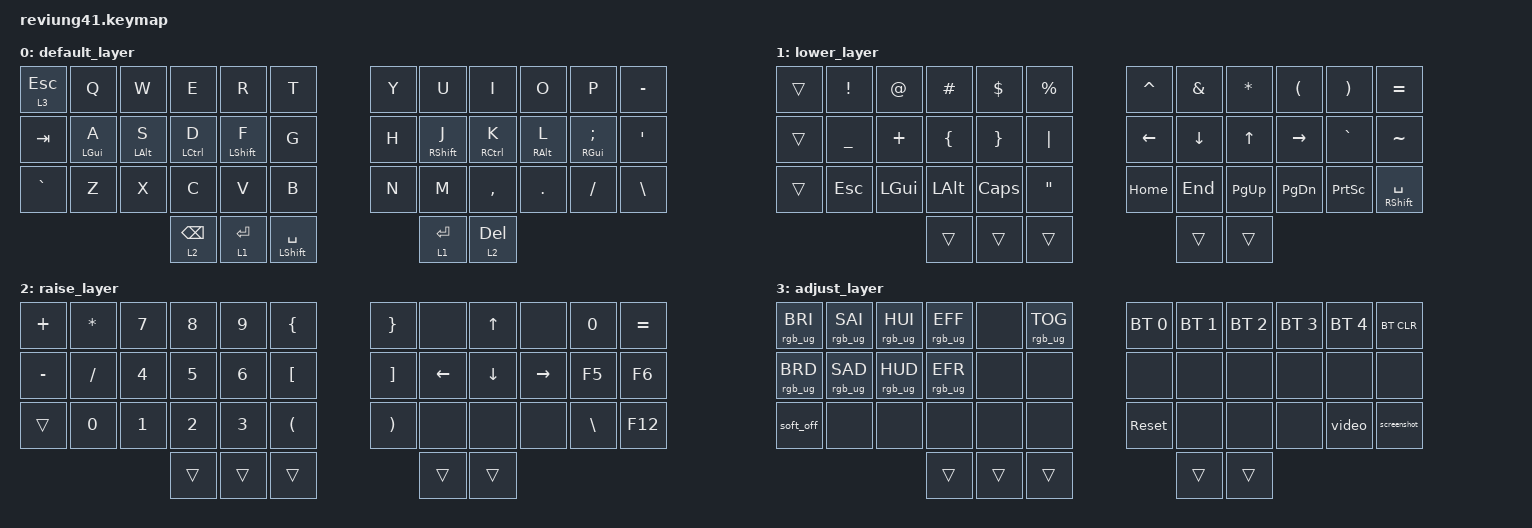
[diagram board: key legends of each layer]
/*
 * Copyright (c) 2020 The ZMK Contributors
 *
 * SPDX-License-Identifier: MIT
 */

#include <behaviors.dtsi>
#include <dt-bindings/zmk/bt.h>
#include <dt-bindings/zmk/keys.h>
#include <dt-bindings/zmk/rgb.h>

&lt { quick-tap-ms = <200>; };

/ {
    behaviors {
        hm: homerow_mods {
            compatible = "zmk,behavior-hold-tap";
            label = "homerow_mods";
            bindings = <&kp>, <&kp>;

            #binding-cells = <2>;
            tapping-term-ms = <200>;
            quick-tap-ms = <200>;
            flavor = "balanced";
        };
    };

    combos {
        compatible = "zmk,combos";

        escape {
            bindings = <&kp ESCAPE>;
            key-positions = <1 2>;
        };

        semi {
            bindings = <&kp SEMICOLON>;
            key-positions = <33 32>;
        };

        hyper {
            bindings = <&kp RC(RS(RA(RGUI)))>;
            key-positions = <39 40 41>;
        };
    };

    macros {
        screenshot: screenshot {
            compatible = "zmk,behavior-macro";
            #binding-cells = <0>;
            bindings =
                <&macro_press>,
                <&kp LGUI &kp LCTRL &kp LSHFT>,
                <&macro_tap>,
                <&kp NUMBER_4>,
                <&macro_release>,
                <&kp LGUI &kp LCTRL &kp LSHFT>;

            label = "SCREENSHOT";
        };

        video: video {
            compatible = "zmk,behavior-macro";
            #binding-cells = <0>;
            bindings =
                <&macro_press>,
                <&kp LGUI &kp LSHFT>,
                <&macro_tap>,
                <&kp N5>,
                <&macro_release>,
                <&kp LGUI &kp LSHFT>;

            label = "VIDEO";
        };
    };

    keymap {
        compatible = "zmk,keymap";

        default_layer {
            // -------------------------------------------------------------------------------------
            // |  TAB |  Q  |  W  |  E  |  R  |  T  |   |  Y  |  U   |  I  |  O  |  P  |   BSPC    |
            // | CTRL |  A  |  S  |  D  |  F  |  G  |   |  H  |  J   |  K  |  L  |  ;  |    '      |
            // | SHFT |  Z  |  X  |  C  |  V  |  B  |   |  N  |  M   |  ,  |  .  |  /  | SHFT(RET) |
            //                         | ALT | LWR | SPC | RSE  | ALT |

            bindings = <
&lt 3 ESCAPE  &kp Q       &kp W           &kp E            &kp R         &kp T                        &kp Y  &kp U         &kp I         &kp O            &kp P          &kp MINUS
&kp TAB       &hm LGUI A  &hm LEFT_ALT S  &hm LCTRL D      &hm LSHIFT F  &kp G                        &kp H  &hm RSHIFT J  &hm RCTRL K   &hm RIGHT_ALT L  &hm RGUI SEMI  &kp SQT
&kp GRAVE     &kp Z       &kp X           &kp C            &kp V         &kp B                        &kp N  &kp M         &kp COMMA     &kp DOT          &kp FSLH       &kp BACKSLASH
                                          &lt 2 BACKSPACE  &lt 1 ENTER          &hm LEFT_SHIFT SPACE         &lt 1 ENTER   &lt 2 DELETE
            >;
        };

        lower_layer {
            // ------------------------------------------------------------------------------------
            // |    |  !  |  @  |  #  |  $  |  %  |   |  ^  |  &  |  *  |  (  |  )  |      DEL    |
            // |    |  _  |  +  |  {  |  }  | "|" |   | LFT | DWN |  UP | RGT |  `  |       ~     |
            // |    | ESC | GUI | ALT | CAPS|  "  |   | HOME| END | PGUP| PGDN| PRSC| SHFT(SPACE) |
            //                       |     |     | RET | ADJ |     |

            bindings = <
&trans  &kp EXCL   &kp AT    &kp HASH  &kp DLLR  &kp PRCNT          &kp CARET  &kp AMPS  &kp ASTRK  &kp LPAR   &kp RPAR   &kp EQUAL
&trans  &kp UNDER  &kp PLUS  &kp LBRC  &kp RBRC  &kp PIPE           &kp LEFT   &kp DOWN  &kp UP     &kp RIGHT  &kp GRAVE  &kp TILDE
&trans  &kp ESC    &kp LGUI  &kp LALT  &kp CLCK  &kp DQT            &kp HOME   &kp END   &kp PG_UP  &kp PG_DN  &kp PSCRN  &mt RSHFT SPACE
                             &trans    &trans               &trans             &trans    &trans
            >;
        };

        raise_layer {
            // ----------------------------------------------------------------------------
            // |    |  1  |  2  |  3  |  4  |  5  |   |  6  |  7  |  8  |  9  |  0  | DEL |
            // |    |  -  |  =  |  [  |  ]  |  \  |   | F1  | F2  | F3  | F4  | F5  | F6  |
            // |    | ESC | GUI | ALT | CAPS|  "  |   | F7  | F8  | F9  | F10 | F11 | F12 |
            //                       |     | ADJ | BSPC |    |     |

            bindings = <
&kp PLUS   &kp STAR   &kp NUMBER_7  &kp NUMBER_8  &kp NUMBER_9  &kp LEFT_BRACE            &kp RIGHT_BRACE        &none     &kp UP    &none      &kp N0         &kp EQUAL
&kp MINUS  &kp SLASH  &kp NUMBER_4  &kp NUMBER_5  &kp NUMBER_6  &kp LEFT_BRACKET          &kp RIGHT_BRACKET      &kp LEFT  &kp DOWN  &kp RIGHT  &kp F5         &kp F6
&trans     &kp N0     &kp NUMBER_1  &kp NUMBER_2  &kp NUMBER_3  &kp LPAR                  &kp RIGHT_PARENTHESIS  &none     &none     &none      &kp BACKSLASH  &kp F12
                                    &trans        &trans                          &trans                         &trans    &trans
            >;
        };

        adjust_layer {
            // -----------------------------------------------------------------------------------------
            // | RGB BRI+ | RGB SAT+ | RGB HUE+ | RGB ANI+ |    | RGB TOG |   |  BT1  | BT2 | BT3 | BT4 | BT5 | BT CLR |
            // | RGB BRI- | RGB SAT- | RGB HUE- | RGB ANI- |    |         |   |       |     |     |     |     |        |
            // |          |          |          |          |    |         |   | RESET |     |     |     |     |        |
            //                                              |     |     |     |     |     |

            bindings = <
&rgb_ug RGB_BRI  &rgb_ug RGB_SAI  &rgb_ug RGB_HUI  &rgb_ug RGB_EFF  &none   &rgb_ug RGB_TOG          &bt BT_SEL 0  &bt BT_SEL 1  &bt BT_SEL 2  &bt BT_SEL 3  &bt BT_SEL 4  &bt BT_CLR
&rgb_ug RGB_BRD  &rgb_ug RGB_SAD  &rgb_ug RGB_HUD  &rgb_ug RGB_EFR  &none   &none                    &none         &none         &none         &none         &none         &none
&soft_off        &none            &none            &none            &none   &none                    &sys_reset    &none         &none         &none         &video        &screenshot
                                                   &trans           &trans                   &trans                &trans        &trans
            >;
        };
    };
};
